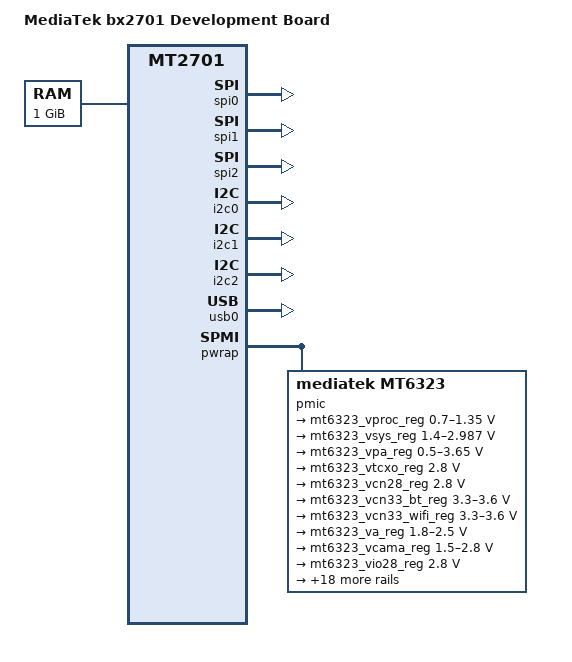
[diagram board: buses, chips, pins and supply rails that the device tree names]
/*
 * Copyright (c) 2015 MediaTek Inc.
 * Author: Erin Lo <erin.lo@mediatek.com>
 *
 * This program is free software; you can redistribute it and/or modify
 * it under the terms of the GNU General Public License as published by
 * the Free Software Foundation; either version 2 of the License.
 *
 * This program is distributed in the hope that it will be useful,
 * but WITHOUT ANY WARRANTY; without even the implied warranty of
 * MERCHANTABILITY or FITNESS FOR A PARTICULAR PURPOSE.  See the
 * GNU General Public License for more details.
 */

/dts-v1/;
#include "mt2701.dtsi"

/ {
	model = "MediaTek bx2701 Development Board";
	compatible = "mediatek,bx2701-evb1","mediatek,mt2701";

	chosen {
		bootargs = "earlyprintk";
	};

	memory {
		reg = <0x80000000 0x40000000>;
	};

};

&pio {
	pinctrl-names = "default";
	pinctrl-0 = <&state_default>;

	state_default:pinconf_default {
	};

	spi_pins_a: spi0@0 {
		pins_spi {
			pins = <MT2701_PIN_53_SPI0_CSN__FUNC_SPI0_CS>,
			<MT2701_PIN_54_SPI0_CK__FUNC_SPI0_CK>,
			<MT2701_PIN_55_SPI0_MI__FUNC_SPI0_MI>,
			<MT2701_PIN_56_SPI0_MO__FUNC_SPI0_MO>;
			bias-disable;
		};
	};

	spi_pins_b: spi1@0 {
		pins_spi {
			pins = <MT2701_PIN_7_SPI1_CSN__FUNC_SPI1_CS>,
			<MT2701_PIN_8_SPI1_MI__FUNC_SPI1_MI>,
			<MT2701_PIN_9_SPI1_MO__FUNC_SPI1_MO>,
			<MT2701_PIN_199_SPI1_CLK__FUNC_SPI1_CK>;
			bias-disable;
		};
	};

	spi_pins_c: spi2@0 {
		pins_spi {
			pins = <MT2701_PIN_101_SPI2_CSN__FUNC_SPI2_CS>,
			<MT2701_PIN_102_SPI2_MI__FUNC_SPI2_MI>,
			<MT2701_PIN_103_SPI2_MO__FUNC_SPI2_MO>,
			<MT2701_PIN_104_SPI2_CLK__FUNC_SPI2_CK>;
			bias-disable;
		};
	};

	i2c0_pins_a: i2c0@0 {
		pins1 {
			pinmux = <MT2701_PIN_75_SDA0__FUNC_SDA0>,
				 <MT2701_PIN_76_SCL0__FUNC_SCL0>;
			bias-disable;
		};
	};

	i2c1_pins_a: i2c1@0 {
		pins1 {
			pinmux = <MT2701_PIN_57_SDA1__FUNC_SDA1>,
				 <MT2701_PIN_58_SCL1__FUNC_SCL1>;
			bias-disable;
		};
	};

	i2c2_pins_a: i2c2@0 {
		pins1 {
			pinmux = <MT2701_PIN_77_SDA2__FUNC_SDA2>,
				 <MT2701_PIN_78_SCL2__FUNC_SCL2>;
			bias-disable;
		};
	};
};

&spi0 {
	pinctrl-names = "default";
	pinctrl-0 = <&spi_pins_a>;
	status = "okay";
	#address-cells = <0x1>;
	#size-cells = <0>;
};

&spi1 {
	pinctrl-names = "default";
	pinctrl-0 = <&spi_pins_b>;
	status = "okay";
	#address-cells = <0x1>;
	#size-cells = <0>;
};

&spi2 {
	pinctrl-names = "default";
	pinctrl-0 = <&spi_pins_c>;
	status = "okay";
	#address-cells = <0x1>;
	#size-cells = <0>;
};

&i2c0 {
	pinctrl-names = "default";
	pinctrl-0 = <&i2c0_pins_a>;
	status = "okay";
};

&i2c1 {
	pinctrl-names = "default";
	pinctrl-0 = <&i2c1_pins_a>;
	status = "okay";
};

&i2c2 {
	pinctrl-names = "default";
	pinctrl-0 = <&i2c2_pins_a>;
	status = "okay";
};

&pio {
	usb_default: default {
	};

	gpio28_mode0_iddig: iddig_irq_init{
		pins_cmd_dat {
			pinmux = <MT2701_PIN_28_EINT6__FUNC_GPIO28>;
			//bias-pull-up;
			//input-enable;
			slew-rate = <0>;
			bias-pull-up = <00>;
		};
	};

	gpio8_mode0_drvvbus: drvvbus_init{
		pins_cmd_dat {
			pinmux = <MT2701_PIN_8_SPI1_MI__FUNC_GPIO8>;
			//output-low;
			slew-rate = <1>;
			bias-pull-up = <00>;
		};
	};

	gpio8_mode0_drvvbus_low: drvvbus_low{
		pins_cmd_dat {
			pinmux = <MT2701_PIN_8_SPI1_MI__FUNC_GPIO8>;
			slew-rate = <1>;
			output-low;
		};
	};

	gpio8_mode0_drvvbus_high: drvvbus_high{
		pins_cmd_dat {
			pinmux = <MT2701_PIN_8_SPI1_MI__FUNC_GPIO8>;
			slew-rate = <1>;
			output-high;
		};
	};

};

&usb0 {
	pinctrl-names = "default", "iddig_irq_init", "drvvbus_init", "drvvbus_low","drvvbus_high";
	pinctrl-0 = <&usb_default>;
	pinctrl-1 = <&gpio28_mode0_iddig>;
	pinctrl-2 = <&gpio8_mode0_drvvbus>;
	pinctrl-3 = <&gpio8_mode0_drvvbus_low>;
	pinctrl-4 = <&gpio8_mode0_drvvbus_high>;
	status = "okay";
	drvvbus_gpio = <&pio 8 0>;
	otg-iddig{
		iddig_gpio = <&pio 28 0>;
		interrupt-parent = <&pio>;
		interrupts = <6 IRQ_TYPE_LEVEL_LOW>;
	};
};
&pwrap {
	pmic: mt6323 {
		compatible = "mediatek,mt6323";
		#address-cells = <1>;
		#size-cells = <1>;

		mt6323regulator: mt6323regulator{
			compatible = "mediatek,mt6323-regulator";

			mt6323_vproc_reg: buck_vproc{
				regulator-name = "vproc";
				regulator-min-microvolt = < 700000>;
				regulator-max-microvolt = <1350000>;
				regulator-ramp-delay = <12500>;
				regulator-always-on;
				regulator-boot-on;
			};

			mt6323_vsys_reg: buck_vsys{
				regulator-name = "vsys";
				regulator-min-microvolt = <1400000>;
				regulator-max-microvolt = <2987500>;
				regulator-ramp-delay = <25000>;
				regulator-always-on;
				regulator-boot-on;
			};

			mt6323_vpa_reg: buck_vpa{
				regulator-name = "vpa";
				regulator-min-microvolt = < 500000>;
				regulator-max-microvolt = <3650000>;
			};

			mt6323_vtcxo_reg: ldo_vtcxo{
				regulator-name = "vtcxo";
				regulator-min-microvolt = <2800000>;
				regulator-max-microvolt = <2800000>;
				regulator-enable-ramp-delay = <90>;
				regulator-always-on;
				regulator-boot-on;
			};

			mt6323_vcn28_reg: ldo_vcn28{
				regulator-name = "vcn28";
				regulator-min-microvolt = <2800000>;
				regulator-max-microvolt = <2800000>;
				regulator-enable-ramp-delay = <185>;
			};

			mt6323_vcn33_bt_reg: ldo_vcn33_bt{
				regulator-name = "vcn33_bt";
				regulator-min-microvolt = <3300000>;
				regulator-max-microvolt = <3600000>;
				regulator-enable-ramp-delay = <185>;
			};

			mt6323_vcn33_wifi_reg: ldo_vcn33_wifi{
				regulator-name = "vcn33_wifi";
				regulator-min-microvolt = <3300000>;
				regulator-max-microvolt = <3600000>;
				regulator-enable-ramp-delay = <185>;
			};

			mt6323_va_reg: ldo_va{
				regulator-name = "va";
				regulator-min-microvolt = <1800000>;
				regulator-max-microvolt = <2500000>;
				regulator-enable-ramp-delay = <216>;
				regulator-boot-on;
			};

			mt6323_vcama_reg: ldo_vcama{
				regulator-name = "vcama";
				regulator-min-microvolt = <1500000>;
				regulator-max-microvolt = <2800000>;
				regulator-enable-ramp-delay = <216>;
			};

			mt6323_vio28_reg: ldo_vio28{
				regulator-name = "vio28";
				regulator-min-microvolt = <2800000>;
				regulator-max-microvolt = <2800000>;
				regulator-enable-ramp-delay = <216>;
				regulator-always-on;
				regulator-boot-on;
			};

			mt6323_vusb_reg: ldo_vusb{
				regulator-name = "vusb";
				regulator-min-microvolt = <3300000>;
				regulator-max-microvolt = <3300000>;
				regulator-enable-ramp-delay = <216>;
				regulator-boot-on;
			};

			mt6323_vmc_reg: ldo_vmc{
				regulator-name = "vmc";
				regulator-min-microvolt = <1800000>;
				regulator-max-microvolt = <3300000>;
				regulator-enable-ramp-delay = <36>;
				regulator-boot-on;
			};

			mt6323_vmch_reg: ldo_vmch{
				regulator-name = "vmch";
				regulator-min-microvolt = <3000000>;
				regulator-max-microvolt = <3300000>;
				regulator-enable-ramp-delay = <36>;
				regulator-boot-on;
			};

			mt6323_vemc3v3_reg: ldo_vemc3v3{
				regulator-name = "vemc3v3";
				regulator-min-microvolt = <3000000>;
				regulator-max-microvolt = <3300000>;
				regulator-enable-ramp-delay = <36>;
				regulator-boot-on;
			};

			mt6323_vgp1_reg: ldo_vgp1{
				regulator-name = "vgp1";
				regulator-min-microvolt = <1200000>;
				regulator-max-microvolt = <3300000>;
				regulator-enable-ramp-delay = <216>;
			};

			mt6323_vgp2_reg: ldo_vgp2{
				regulator-name = "vgp2";
				regulator-min-microvolt = <1200000>;
				regulator-max-microvolt = <3000000>;
				regulator-enable-ramp-delay = <216>;
			};

			mt6323_vgp3_reg: ldo_vgp3{
				regulator-name = "vgp3";
				regulator-min-microvolt = <1200000>;
				regulator-max-microvolt = <1800000>;
				regulator-enable-ramp-delay = <216>;
			};

			mt6323_vcn18_reg: ldo_vcn18{
				regulator-name = "vcn18";
				regulator-min-microvolt = <1800000>;
				regulator-max-microvolt = <1800000>;
				regulator-enable-ramp-delay = <216>;
			};

			mt6323_vsim1_reg: ldo_vsim1{
				regulator-name = "vsim1";
				regulator-min-microvolt = <1800000>;
				regulator-max-microvolt = <3000000>;
				regulator-enable-ramp-delay = <216>;
			};

			mt6323_vsim2_reg: ldo_vsim2{
				regulator-name = "vsim2";
				regulator-min-microvolt = <1800000>;
				regulator-max-microvolt = <3000000>;
				regulator-enable-ramp-delay = <216>;
			};

			mt6323_vrtc_reg: ldo_vrtc{
				regulator-name = "vrtc";
				regulator-min-microvolt = <2800000>;
				regulator-max-microvolt = <2800000>;
				regulator-always-on;
				regulator-boot-on;
			};

			mt6323_vcamaf_reg: ldo_vcamaf{
				regulator-name = "vcamaf";
				regulator-min-microvolt = <1200000>;
				regulator-max-microvolt = <3300000>;
				regulator-enable-ramp-delay = <216>;
			};

			mt6323_vibr_reg: ldo_vibr{
				regulator-name = "vibr";
				regulator-min-microvolt = <1200000>;
				regulator-max-microvolt = <3300000>;
				regulator-enable-ramp-delay = <36>;
			};

			mt6323_vrf18_reg: ldo_vrf18{
				regulator-name = "vrf18";
				regulator-min-microvolt = <1825000>;
				regulator-max-microvolt = <1825000>;
				regulator-enable-ramp-delay = <187>;
			};

			mt6323_vm_reg: ldo_vm{
				regulator-name = "vm";
				regulator-min-microvolt = <1200000>;
				regulator-max-microvolt = <1800000>;
				regulator-enable-ramp-delay = <216>;
				regulator-always-on;
				regulator-boot-on;
			};

			mt6323_vio18_reg: ldo_vio18{
				regulator-name = "vio18";
				regulator-min-microvolt = <1800000>;
				regulator-max-microvolt = <1800000>;
				regulator-enable-ramp-delay = <216>;
				regulator-always-on;
				regulator-boot-on;
			};

			mt6323_vcamd_reg: ldo_vcamd{
				regulator-name = "vcamd";
				regulator-min-microvolt = <1200000>;
				regulator-max-microvolt = <1800000>;
				regulator-enable-ramp-delay = <216>;
			};

			mt6323_vcamio_reg: ldo_vcamio{
				regulator-name = "vcamio";
				regulator-min-microvolt = <1800000>;
				regulator-max-microvolt = <1800000>;
				regulator-enable-ramp-delay = <216>;
			};
		};
	};
};


/* AUDIO GPIO standardization */
&sound {
	pinctrl-names = "default";
	pinctrl-0 = <&AUD_pins_default>;

	status = "okay";
};

&pio {
	AUD_pins_default: audiodefault {
		pins_cmd_dat {
			pinmux = <MT2701_PIN_49_I2S0_DATA__FUNC_I2S0_DATA>,
				<MT2701_PIN_72_I2S0_DATA_IN__FUNC_I2S0_DATA_IN>,
				<MT2701_PIN_73_I2S0_LRCK__FUNC_I2S0_LRCK>,
				<MT2701_PIN_74_I2S0_BCK__FUNC_I2S0_BCK>,
				<MT2701_PIN_126_I2S0_MCLK__FUNC_I2S0_MCLK>,
				<MT2701_PIN_200_SPDIF_OUT__FUNC_SPDIF_OUT>,
				<MT2701_PIN_189_I2S3_DATA__FUNC_I2S3_DATA>,
				<MT2701_PIN_190_I2S3_DATA_IN__FUNC_I2S3_DATA_IN>,
				<MT2701_PIN_191_I2S3_BCK__FUNC_I2S3_BCK>,
				<MT2701_PIN_192_I2S3_LRCK__FUNC_I2S3_LRCK>,
				<MT2701_PIN_193_I2S3_MCLK__FUNC_I2S3_MCLK>;
			drive-strength = <MTK_DRIVE_12mA>;
		};
	};
};
/* AUDIO end */
